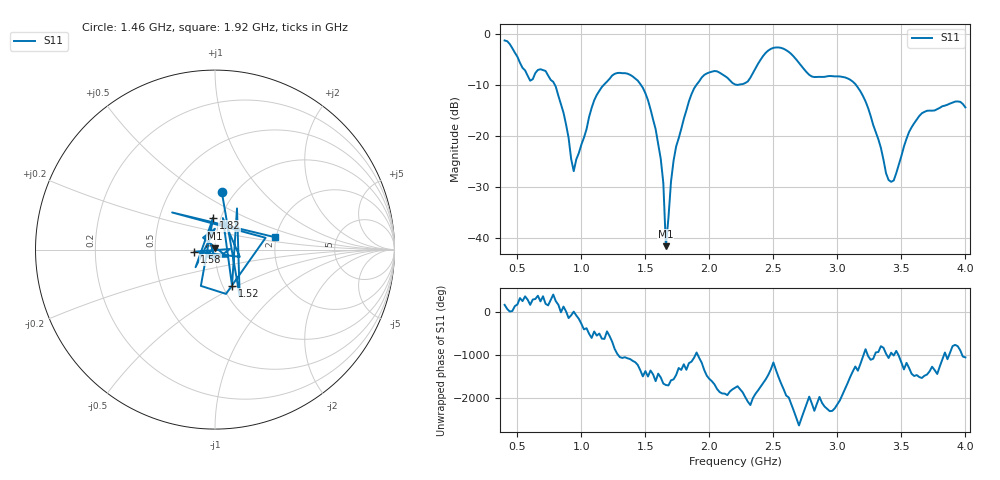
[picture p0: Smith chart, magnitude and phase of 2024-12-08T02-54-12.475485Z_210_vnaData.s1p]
!Created with skrf (http://scikit-rf.org).
# Hz S RI R 50.0
!freq ReS11 ImS11
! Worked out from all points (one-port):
!   181 points, 400 MHz to 4 GHz, reference 50 ohm
!   lowest |S11| = -41.6 dB at 1.66 GHz (marker M1), VSWR 1.02, Z = 49.9 + j0.825 ohm
!   |S11| at or under -10 dB: 791.3 MHz to 1.177 GHz (385.7 MHz wide, 39.2 % of centre); 1.463 GHz to 1.9 GHz (437 MHz wide, 26 % of centre); 3.143 GHz to end of sweep (the widest 3 of 4)
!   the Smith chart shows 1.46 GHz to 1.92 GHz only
!   S11 on the Smith chart (normalised r, x): 1.46 GHz: 0.87, +0.62; 1.52 GHz: 1.11, -0.47; 1.58 GHz: 0.79, -0.02; 1.82 GHz: 0.92, +0.34; 1.92 GHz: 1.97, +0.31
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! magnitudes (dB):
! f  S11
! 400 MHz  -1.4
! 600 MHz  -9.2
! 720 MHz  -7.3
! 860 MHz  -15.5
! 940 MHz  -26.9
! 1.1 GHz  -13.1
! 1.3 GHz  -7.7
! 1.46 GHz  -9.9
! 1.52 GHz  -13.0
! 1.58 GHz  -18.7
! 1.64 GHz  -29.3
! 1.66 GHz  -41.6
! 1.7 GHz  -29.0
! 1.76 GHz  -20.5
! 1.82 GHz  -15.1
! 1.92 GHz  -9.4
! 2.04 GHz  -7.3
! 2.2 GHz  -10.0
! 2.48 GHz  -3.0
! 2.66 GHz  -4.6
! 2.8 GHz  -8.4
! 3.1 GHz  -9.0
! 3.24 GHz  -14.6
! 3.4 GHz  -28.7
! 3.44 GHz  -28.8
! 3.56 GHz  -19.3
! 3.7 GHz  -15.1
! 4 GHz  -14.5
